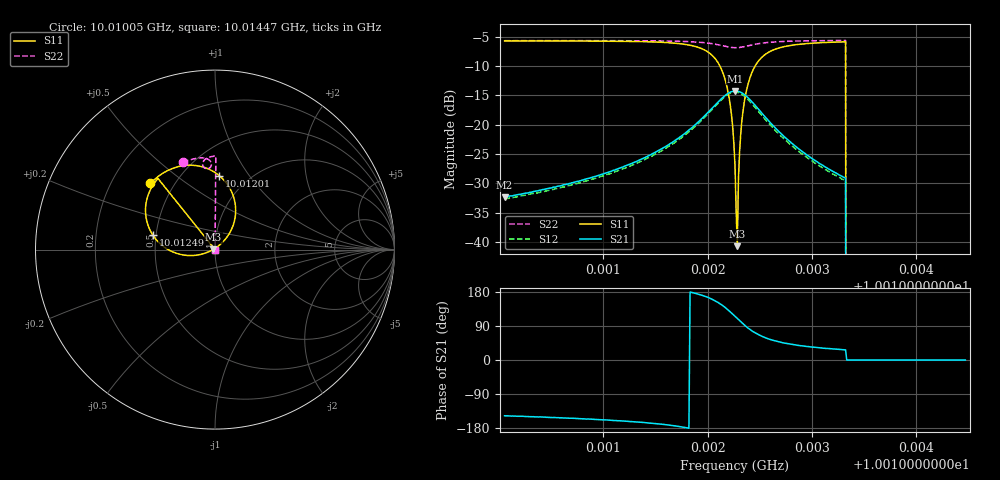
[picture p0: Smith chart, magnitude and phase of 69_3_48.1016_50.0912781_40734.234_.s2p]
#  HZ  S  RI  R  50.00
! Rohde & Schwarz Vector Network Analyzer
! Rohde-Schwarz,ZNB20-2Port,1311601062101988,3.16
! Created: UTC 12/23/2023, 3:41:34 AM
! freq[Hz]  re:S11  im:S11  re:S21  im:S21  re:S12  im:S12  re:S22  im:S22
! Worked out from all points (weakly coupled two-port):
!   401 points, 10.01005 GHz to 10.01447 GHz, reference 50 ohm
!   highest |S21| = -14.26 dB at 10.01226 GHz (marker M1); lowest = -32.4 dB at 10.01005 GHz (marker M2)
!   lowest |S11| = -40.7 dB at 10.01228 GHz (marker M3), VSWR 1.02, Z = 49.1 + j0.0919 ohm
!   |S11| at or under -10 dB: 10.01212 GHz to 10.01246 GHz (338.6 kHz wide, 0.00338 % of centre); 10.01332 GHz to end of sweep
!   |S22| runs from - to -5.7 dB; largest |S21 - S12| = 0.0091
!   S11 on the Smith chart (normalised r, x): 10.01005 GHz: 0.37, +0.37; 10.01201 GHz: 0.74, +0.73; 10.01249 GHz: 0.48, +0.09; 10.01447 GHz: 1.00, +0.00
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1.0010054e10  -0.3619 0.3686  -0.0203 -0.0131  -0.0188 -0.0136  -0.1782 0.4874
1.0010794e10  -0.306 0.4151  -0.0306 -0.014  -0.0286 -0.015  -0.1301 0.5028
1.0011533e10  -0.1974 0.4639  -0.0592 -0.0118  -0.0563 -0.0146  -0.0746 0.511
1.0012008e10  0.024 0.4118  -0.1237 0.0339  -0.122 0.0269  -0.0268 0.4936
1.0012118e10  0.1024 0.2969  -0.138 0.0846  -0.1388 0.0764  -0.02 0.4752
1.0012184e10  0.112 0.1785  -0.1283 0.129  -0.1311 0.1207  -0.024 0.461
1.0012229e10  0.08 0.0897  -0.1062 0.1588  -0.1101 0.1509  -0.0321 0.4532
1.001224e10  0.0663 0.069  -0.099 0.1648  -0.1028 0.1574  -0.0347 0.4518
1.0012262e10  0.0322 0.0314  -0.0823 0.1752  -0.0864 0.1683  -0.0405 0.4503
1.0012284e10  -0.00917 0.000936  -0.0641 0.182  -0.0684 0.1754  -0.0465 0.4501
1.0012295e10  -0.0329 -0.0112  -0.0545 0.1841  -0.059 0.1775  -0.0494 0.4505
1.0012317e10  -0.0795 -0.0269  -0.0357 0.1852  -0.0398 0.179  -0.0549 0.4527
1.0012328e10  -0.1042 -0.0313  -0.026 0.1845  -0.0301 0.1782  -0.0575 0.454
1.0012361e10  -0.1727 -0.0306  -0.000163 0.1776  -0.00438 0.1716  -0.0636 0.4596
1.0012416e10  -0.2673 0.00377  0.0322 0.1561  0.0262 0.151  -0.0685 0.4712
1.0012494e10  -0.3454 0.0793  0.054 0.1217  0.048 0.1178  -0.0673 0.486
1.0012714e10  -0.3858 0.2461  0.0571 0.0588  0.0518 0.0584  -0.0472 0.5085
1.0013001e10  -0.3548 0.3439  0.0425 0.0287  0.0392 0.0293  -0.0209 0.5178
1.0013299e10  -0.3198 0.3933  0.0318 0.0162  0.0295 0.0171  0.00307 0.5211
1.0013355e10  0 0  0 0  0 0  0 0
1.0013741e10  0 0  0 0  0 0  0 0
1.0014469e10  0 0  0 0  0 0  0 0
